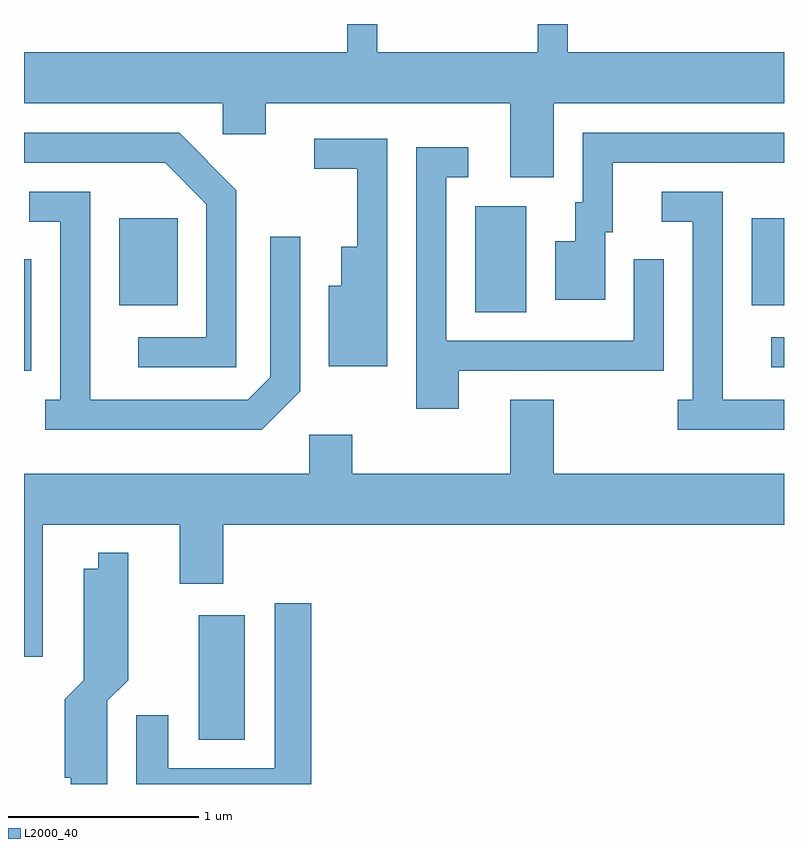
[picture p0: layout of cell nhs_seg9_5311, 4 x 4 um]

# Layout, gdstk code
import gdstk
lib = gdstk.Library(unit=1e-6, precision=1e-09)
def R(c, l, rs):  # rectangles x0, y0, x1, y1
    for r in rs: c.add(gdstk.rectangle(r[:2], r[2:], *l))
def P(c, l, *ps):  # polygons
    for p in ps: c.add(gdstk.Polygon(p, *l))
L2000_40 = (2000, 40)

nhs_seg9_5311 = lib.new_cell('nhs_seg9_5311')
R(nhs_seg9_5311, L2000_40, [(342.531,2010.666,342.774,2011.319), (341.611,2012.606,341.649,2013.193), (345.543,2012.626,345.611,2012.784), (343.986,2012.916,344.254,2013.474), (342.111,2012.951,342.419,2013.409), (345.441,2012.951,345.611,2013.409)])
P(nhs_seg9_5311, L2000_40, [(344.399,2014.016),(345.611,2014.016),(345.611,2014.284),(344.474,2014.284),(344.474,2014.432),(344.316,2014.432),(344.316,2014.284),(343.469,2014.284),(343.469,2014.432),(343.311,2014.432),(343.311,2014.284),(341.611,2014.284),(341.611,2014.016),(342.656,2014.016),(342.656,2013.851),(342.884,2013.851),(342.884,2014.016),(344.171,2014.016),(344.171,2013.626),(344.399,2013.626)],
  [(342.729,2013.557),(342.427,2013.859),(341.611,2013.859),(341.611,2013.701),(342.354,2013.701),(342.571,2013.484),(342.571,2012.784),(342.213,2012.784),(342.213,2012.626),(342.729,2012.626)],
  [(344.669,2013.336),(344.709,2013.336),(344.709,2013.701),(345.611,2013.701),(345.611,2013.859),(344.551,2013.859),(344.551,2013.494),(344.511,2013.494),(344.511,2013.289),(344.406,2013.289),(344.406,2012.981),(344.669,2012.981)],
  [(343.524,2013.829),(343.138,2013.829),(343.138,2013.671),(343.366,2013.671),(343.366,2013.259),(343.281,2013.259),(343.281,2013.054),(343.216,2013.054),(343.216,2012.631),(343.524,2012.631)],
  [(343.899,2012.606),(344.979,2012.606),(344.979,2013.193),(344.821,2013.193),(344.821,2012.764),(343.834,2012.764),(343.834,2013.626),(343.948,2013.626),(343.948,2013.784),(343.676,2013.784),(343.676,2012.406),(343.899,2012.406)],
  [(343.064,2012.499),(343.064,2013.313),(342.906,2013.313),(342.906,2012.572),(342.789,2012.454),(341.959,2012.454),(341.959,2013.549),(341.638,2013.549),(341.638,2013.391),(341.801,2013.391),(341.801,2012.454),(341.723,2012.454),(341.723,2012.296),(342.862,2012.296)],
  [(345.611,2012.454),(345.289,2012.454),(345.289,2013.549),(344.968,2013.549),(344.968,2013.391),(345.131,2013.391),(345.131,2012.454),(345.053,2012.454),(345.053,2012.296),(345.611,2012.296)],
  [(341.709,2011.796),(342.431,2011.796),(342.431,2011.486),(342.659,2011.486),(342.659,2011.796),(345.611,2011.796),(345.611,2012.064),(344.399,2012.064),(344.399,2012.454),(344.171,2012.454),(344.171,2012.064),(343.339,2012.064),(343.339,2012.269),(343.111,2012.269),(343.111,2012.064),(341.611,2012.064),(341.611,2011.101),(341.709,2011.101)],
  [(342.049,2010.869),(342.159,2010.979),(342.159,2011.648),(342.001,2011.648),(342.001,2011.564),(341.926,2011.564),(341.926,2010.977),(341.826,2010.877),(341.826,2010.466),(341.856,2010.466),(341.856,2010.432),(342.049,2010.432)],
  [(343.124,2011.384),(342.931,2011.384),(342.931,2010.514),(342.369,2010.514),(342.369,2010.793),(342.201,2010.793),(342.201,2010.432),(343.124,2010.432)])

lib.write_gds('nhs_seg9_5311.gds')
